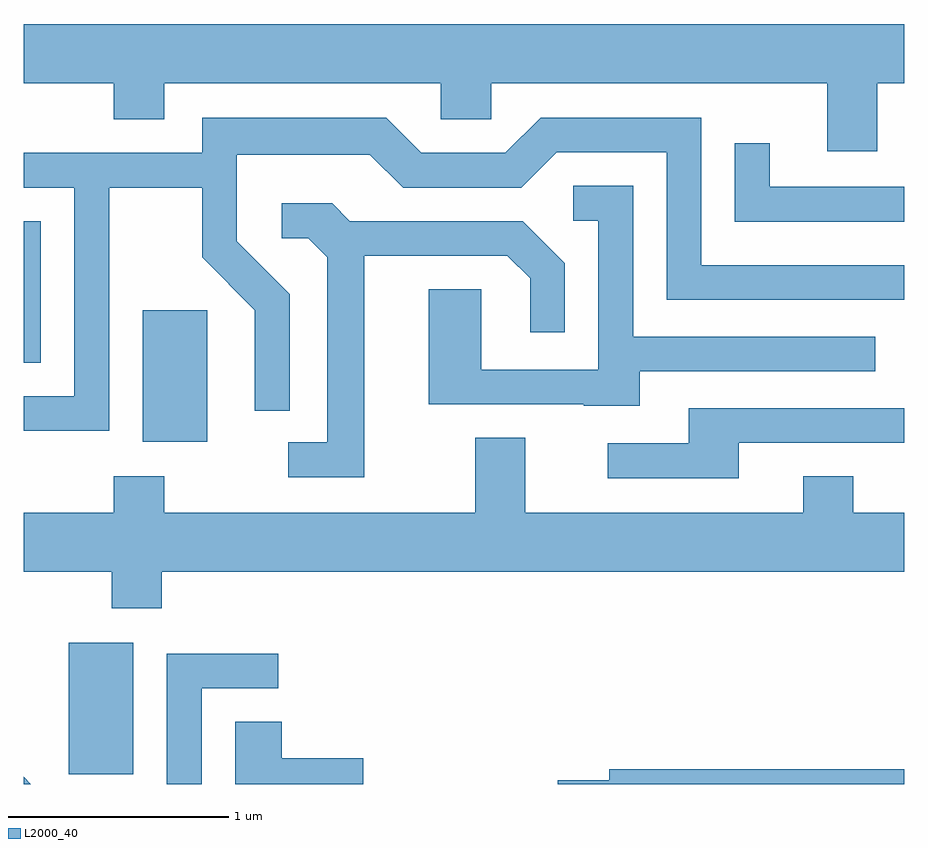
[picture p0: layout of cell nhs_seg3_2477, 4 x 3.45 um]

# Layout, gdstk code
import gdstk
lib = gdstk.Library(unit=1e-6, precision=1e-09)
def R(c, l, rs):  # rectangles x0, y0, x1, y1
    for r in rs: c.add(gdstk.rectangle(r[:2], r[2:], *l))
def P(c, l, *ps):  # polygons
    for p in ps: c.add(gdstk.Polygon(p, *l))
L2000_40 = (2000, 40)

nhs_seg3_2477 = lib.new_cell('nhs_seg3_2477')
R(nhs_seg3_2477, L2000_40, [(257.816,1173.936,258.109,1174.534), (258.151,1175.446,258.444,1176.044), (257.611,1175.806,257.689,1176.449)])
P(nhs_seg3_2477, L2000_40, [(261.489,1177.076),(261.611,1177.076),(261.611,1177.344),(257.611,1177.344),(257.611,1177.076),(258.021,1177.076),(258.021,1176.911),(258.249,1176.911),(258.249,1177.076),(259.506,1177.076),(259.506,1176.911),(259.734,1176.911),(259.734,1177.076),(261.261,1177.076),(261.261,1176.766),(261.489,1176.766)],
  [(257.999,1176.601),(258.421,1176.601),(258.421,1176.284),(258.661,1176.044),(258.661,1175.588),(258.819,1175.588),(258.819,1176.117),(258.579,1176.357),(258.579,1176.751),(259.183,1176.751),(259.334,1176.601),(259.872,1176.601),(260.032,1176.761),(260.531,1176.761),(260.531,1176.091),(261.611,1176.091),(261.611,1176.249),(260.689,1176.249),(260.689,1176.919),(259.959,1176.919),(259.799,1176.759),(259.416,1176.759),(259.257,1176.919),(258.421,1176.919),(258.421,1176.759),(257.611,1176.759),(257.611,1176.601),(257.841,1176.601),(257.841,1175.654),(257.611,1175.654),(257.611,1175.496),(257.999,1175.496)],
  [(261.611,1176.604),(260.999,1176.604),(260.999,1176.803),(260.841,1176.803),(260.841,1176.446),(261.611,1176.446)],
  [(260.409,1175.766),(261.478,1175.766),(261.478,1175.924),(260.379,1175.924),(260.379,1176.609),(260.108,1176.609),(260.108,1176.451),(260.221,1176.451),(260.221,1175.774),(259.689,1175.774),(259.689,1176.139),(259.451,1176.139),(259.451,1175.616),(260.155,1175.616),(260.155,1175.611),(260.409,1175.611)],
  [(259.159,1176.291),(259.808,1176.291),(259.911,1176.189),(259.911,1175.943),(260.069,1175.943),(260.069,1176.257),(259.877,1176.449),(259.092,1176.449),(259.012,1176.529),(258.783,1176.529),(258.783,1176.371),(258.904,1176.371),(258.991,1176.284),(258.991,1175.444),(258.813,1175.444),(258.813,1175.286),(259.159,1175.286)],
  [(260.859,1175.441),(261.611,1175.441),(261.611,1175.599),(260.631,1175.599),(260.631,1175.439),(260.263,1175.439),(260.263,1175.281),(260.859,1175.281)],
  [(258.239,1174.856),(261.611,1174.856),(261.611,1175.124),(261.379,1175.124),(261.379,1175.289),(261.151,1175.289),(261.151,1175.124),(259.889,1175.124),(259.889,1175.464),(259.661,1175.464),(259.661,1175.124),(258.249,1175.124),(258.249,1175.289),(258.021,1175.289),(258.021,1175.124),(257.611,1175.124),(257.611,1174.856),(258.011,1174.856),(258.011,1174.691),(258.239,1174.691)],
  [(258.419,1174.326),(258.767,1174.326),(258.767,1174.484),(258.261,1174.484),(258.261,1173.892),(258.419,1173.892)],
  [(259.154,1174.009),(258.784,1174.009),(258.784,1174.174),(258.571,1174.174),(258.571,1173.892),(259.154,1173.892)],
  [(261.611,1173.959),(260.271,1173.959),(260.271,1173.909),(260.036,1173.909),(260.036,1173.892),(261.611,1173.892)],
  [(257.611,1173.925),(257.611,1173.892),(257.644,1173.892)])

lib.write_gds('nhs_seg3_2477.gds')
